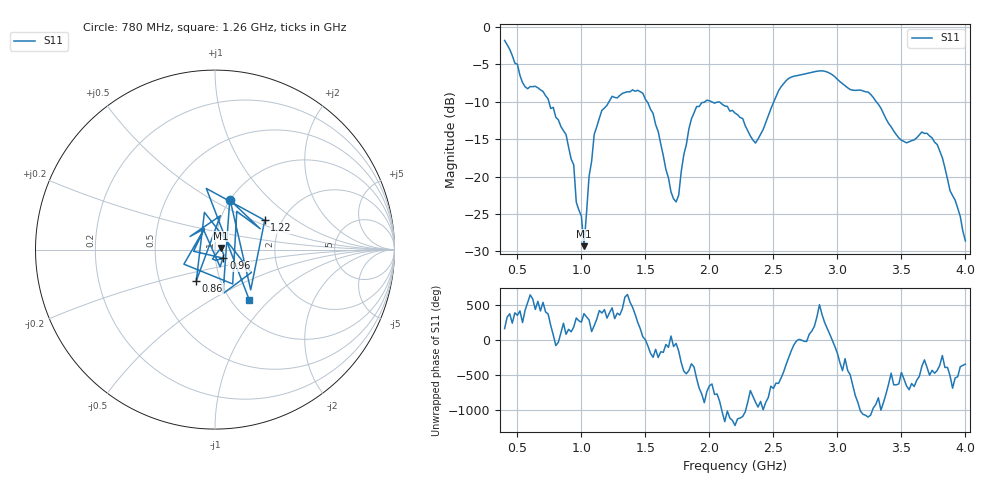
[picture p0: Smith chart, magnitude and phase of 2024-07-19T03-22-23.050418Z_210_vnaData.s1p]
!Created with skrf (http://scikit-rf.org).
# Hz S RI R 50.0
!freq ReS11 ImS11
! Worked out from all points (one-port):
!   181 points, 400 MHz to 4 GHz, reference 50 ohm
!   lowest |S11| = -29.3 dB at 1.02 GHz (marker M1), VSWR 1.07, Z = 53.4 + j1.01 ohm
!   |S11| at or under -10 dB: 746 MHz to 1.215 GHz (469.2 MHz wide, 47.8 % of centre); 2.018 GHz to 2.503 GHz (484.6 MHz wide, 21.4 % of centre); 3.304 GHz to end of sweep (the widest 3 of 4)
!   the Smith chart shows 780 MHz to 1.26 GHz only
!   S11 on the Smith chart (normalised r, x): 780 MHz: 1.00, +0.61; 860 MHz: 0.77, -0.28; 960 MHz: 1.09, -0.11; 1.22 GHz: 1.63, +0.59; 1.26 GHz: 1.21, -0.76
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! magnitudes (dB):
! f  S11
! 400 MHz  -1.8
! 560 MHz  -8.0
! 780 MHz  -10.7
! 860 MHz  -13.9
! 940 MHz  -18.4
! 960 MHz  -23.4
! 1 GHz  -25.3
! 1.02 GHz  -29.3
! 1.06 GHz  -20.0
! 1.1 GHz  -14.4
! 1.22 GHz  -9.9
! 1.26 GHz  -9.4
! 1.3 GHz  -9.1
! 1.48 GHz  -8.9
! 1.56 GHz  -11.6
! 1.7 GHz  -22.1
! 1.76 GHz  -22.5
! 1.84 GHz  -13.6
! 1.9 GHz  -10.6
! 2.2 GHz  -11.5
! 2.36 GHz  -15.5
! 2.66 GHz  -6.6
! 2.9 GHz  -5.9
! 3.1 GHz  -8.4
! 3.24 GHz  -8.7
! 3.56 GHz  -15.4
! 3.78 GHz  -15.7
! 4 GHz  -28.6
